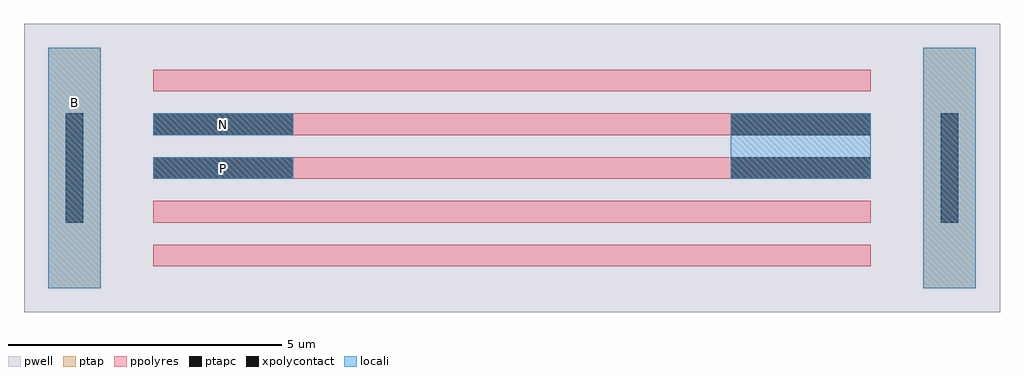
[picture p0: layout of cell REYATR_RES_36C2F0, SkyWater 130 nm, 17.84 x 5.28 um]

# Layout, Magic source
magic
tech sky130A
magscale 1 2
<< ptap >>
rect -96 -40 96 40
rect 3104 -40 3296 40
rect -96 40 96 120
rect 3104 40 3296 120
rect -96 120 96 200
rect 3104 120 3296 200
rect -96 200 96 280
rect 3104 200 3296 280
rect -96 280 96 360
rect 3104 280 3296 360
rect -96 360 96 440
rect 3104 360 3296 440
rect -96 440 96 520
rect 3104 440 3296 520
rect -96 520 96 600
rect 3104 520 3296 600
rect -96 600 96 680
rect 3104 600 3296 680
rect -96 680 96 760
rect 3104 680 3296 760
rect -96 760 96 840
rect 3104 760 3296 840
<< locali >>
rect -96 -40 96 40
rect 3104 -40 3296 40
rect -96 40 96 120
rect 3104 40 3296 120
rect -96 120 96 200
rect 3104 120 3296 200
rect -96 200 96 280
rect 3104 200 3296 280
rect -96 280 96 360
rect 3104 280 3296 360
rect -96 360 96 440
rect 288 360 800 440
rect 288 360 800 440
rect 2400 360 2912 440
rect 3104 360 3296 440
rect -96 440 96 520
rect 2400 440 2912 520
rect 3104 440 3296 520
rect -96 520 96 600
rect 288 520 800 600
rect 288 520 800 600
rect 2400 520 2912 600
rect 3104 520 3296 600
rect -96 600 96 680
rect -96 600 96 680
rect 3104 600 3296 680
rect -96 680 96 760
rect 3104 680 3296 760
rect -96 760 96 840
rect 3104 760 3296 840
<< ptapc >>
rect -32 200 32 280
rect 3168 200 3232 280
rect -32 280 32 360
rect 3168 280 3232 360
rect -32 360 32 440
rect 3168 360 3232 440
rect -32 440 32 520
rect 3168 440 3232 520
rect -32 520 32 600
rect 3168 520 3232 600
<< ppolyres >>
rect 288 360 2912 440
rect 288 520 2912 600
rect 288 40 2912 120
rect 288 200 2912 280
rect 288 680 2912 760
<< xpolycontact >>
rect 288 360 800 440
rect 2400 360 2912 440
rect 288 520 800 600
rect 2400 520 2912 600
<< pwell >>
rect -184 -128 3384 928
<< labels >>
flabel locali s 288 360 800 440 0 FreeSans 400 0 0 0 P
port 2 nsew signal bidirectional
flabel locali s 288 520 800 600 0 FreeSans 400 0 0 0 N
port 1 nsew signal bidirectional
flabel locali s -96 600 96 680 0 FreeSans 400 0 0 0 B
port 3 nsew signal bidirectional
<< properties >>
string FIXED_BBOX 0 0 3200 800
<< end >>
